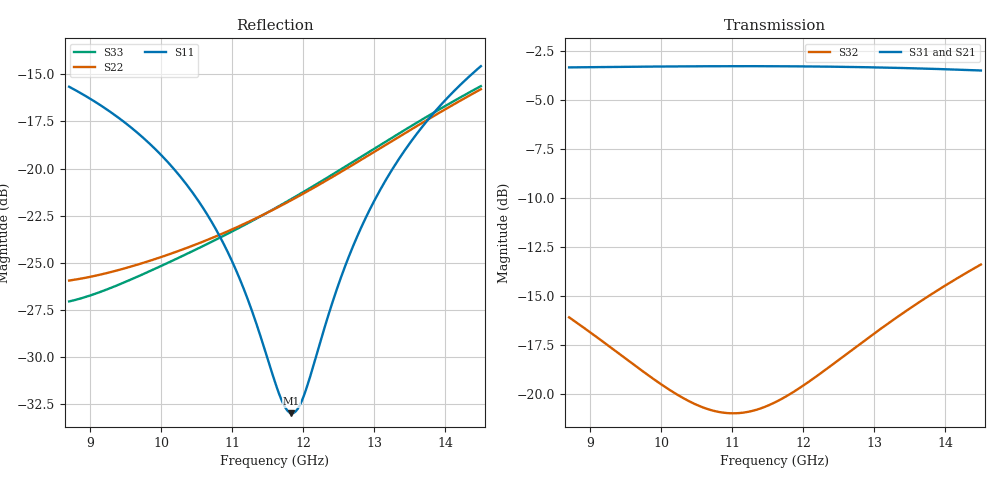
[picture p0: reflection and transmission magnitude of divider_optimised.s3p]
! Touchstone file exported from HFSS 2026.1.0
!  File:  (path removed for publication)
!  Generated:  01:47:16 AM Sep  1, 2026
!  Design:  em
!  Project:  wilkinson_1to2_11p6GHz
# GHz S MA R 50.000000
! Terminal data exported
! Port[1] = P1
! Port[2] = P2
! Port[3] = P3
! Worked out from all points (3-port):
!   201 points, 8.7 GHz to 14.5 GHz, reference 50 ohm
!   strongest paths, dB at 8.7 GHz, 10.15 GHz, 11.6 GHz, 13.05 GHz, 14.5 GHz:
!     S31: -3.3, -3.3, -3.3, -3.3, -3.5
!     S21: -3.4, -3.3, -3.3, -3.3, -3.5
!     S32: -16.1, -19.9, -20.4, -16.8, -13.4
!   lowest |S11| = -33.0 dB at 11.83 GHz (marker M1), VSWR 1.05, Z = 51.7 + j1.54 ohm
!   |S11| at or under -10 dB: start of sweep to end of sweep
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8.7  0.1649 22.2  0.6797 145.1  0.6804 145.2
     0.6797 145.1  0.05051 166.3  0.1567 71.6
     0.6804 145.2  0.1567 71.6  0.04446 164.6
9.657  0.1247 6.6  0.6822 120.9  0.6831 121.0
       0.6822 120.9  0.05562 131.3  0.117 30.2
       0.6831 121.0  0.117 30.2  0.05166 126.3
10.498  0.08332 -4.6  0.6839 99.5  0.6848 99.5
        0.6839 99.5  0.06309 108.6  0.09373 -15.6
        0.6848 99.5  0.09373 -15.6  0.06119 103.5
11.078  0.05237 -6.5  0.6845 84.6  0.6853 84.7
        0.6845 84.6  0.07014 96.0  0.08927 -52.0
        0.6853 84.7  0.08927 -52.0  0.06942 91.5
11.6  0.02717 13.1  0.6844 71.2  0.6851 71.3
      0.6844 71.2  0.07827 85.9  0.09512 -84.6
      0.6851 71.3  0.09512 -84.6  0.07847 82.0
11.832  0.02246 41.5  0.6842 65.3  0.6848 65.3
        0.6842 65.3  0.08252 81.5  0.1004 -98.0
        0.6848 65.3  0.1004 -98.0  0.0831 77.9
12.006  0.025 65.1  0.6839 60.8  0.6844 60.8
        0.6839 60.8  0.086 78.2  0.1052 -107.6
        0.6844 60.8  0.1052 -107.6  0.08685 74.9
12.557  0.0532 92.5  0.6823 46.6  0.6826 46.6
        0.6823 46.6  0.09872 67.7  0.1244 -135.2
        0.6826 46.6  0.1244 -135.2  0.1003 65.1
13.05  0.08569 91.8  0.68 33.8  0.6802 33.8
       0.68 33.8  0.1123 57.8  0.1448 -156.8
       0.6802 33.8  0.1448 -156.8  0.1145 55.8
14.5  0.1869 69.0  0.668 -3.6  0.6681 -3.6
      0.668 -3.6  0.1624 24.6  0.2138 149.6
      0.6681 -3.6  0.2138 149.6  0.1655 23.9
